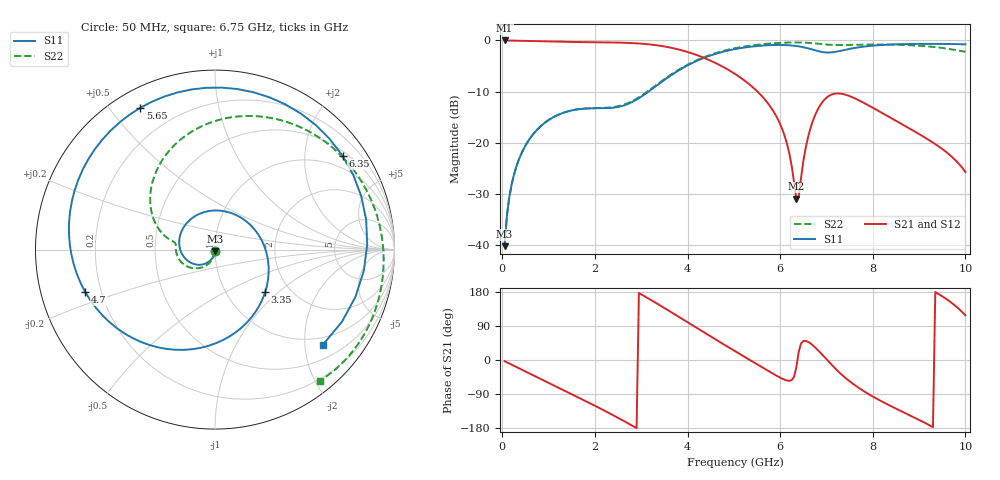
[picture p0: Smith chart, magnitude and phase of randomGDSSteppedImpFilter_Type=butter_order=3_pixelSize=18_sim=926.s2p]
! freq	dB(S11)	phase(S11)	dB(S12)	phase(S12)
!  dB(S21)	phase(S21)	dB(S22)	phase(S22)
!S-par simulation data
#  GHz  S  DB  R 50
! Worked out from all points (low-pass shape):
!   200 points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, 50 MHz to 10 GHz, reference 50 ohm
!   highest |S21| = -0.01 dB at 50 MHz (marker M1); lowest = -30.9 dB at 6.35 GHz (marker M2)
!   |S21| within 3 dB of the highest: start of sweep to 4.244 GHz
!   lowest |S11| = -40.2 dB at 50 MHz (marker M3), VSWR 1.02, Z = 49.9 - j0.972 ohm
!   |S11| at or under -10 dB: start of sweep to 3.158 GHz
!   |S22| runs from -40.2 to -0.4 dB; largest |S21 - S12| = 0
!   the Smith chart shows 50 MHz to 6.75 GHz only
!   S11 on the Smith chart (normalised r, x): 50 MHz: 1.00, -0.02; 3.35 GHz: 1.50, -0.82; 4.7 GHz: 0.14, -0.16; 5.65 GHz: 0.08, +0.60; 6.35 GHz: 0.62, +2.93; 6.75 GHz: 0.82, -2.41
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0.05  -40.22 -93.0  -0.01 -3.1  -0.01 -3.1  -40.22 -92.3
0.2  -28.23 -103.6  -0.03 -12.2  -0.03 -12.2  -28.22 -100.8
0.5  -20.56 -124.2  -0.08 -30.3  -0.08 -30.3  -20.55 -116.9
1.15  -14.78 -170.0  -0.23 -69.2  -0.23 -69.2  -14.77 -149.6
1.75  -13.35 142.5  -0.33 -105.3  -0.33 -105.3  -13.33 -174.4
2.65  -12.64 44.3  -0.46 -162.6  -0.46 -162.6  -12.48 169.1
3.35  -8.71 -40.3  -0.97 148.2  -0.97 148.2  -8.55 154.7
3.4  -8.38 -45.7  -1.03 144.6  -1.03 144.6  -8.22 152.7
4.1  -4.42 -111.9  -2.54 92.3  -2.54 92.3  -4.29 114.2
4.7  -2.38 -162.0  -4.85 47.3  -4.85 47.3  -2.23 74.1
5.05  -1.65 169.5  -6.70 21.5  -6.70 21.5  -1.48 50.6
5.65  -0.98 117.7  -11.34 -22.1  -11.34 -22.1  -0.71 11.9
6.1  -0.90 70.4  -18.74 -52.2  -18.74 -52.2  -0.43 -15.3
6.35  -1.09 36.3  -30.93 -19.1  -30.93 -19.1  -0.39 -29.7
6.7  -1.79 -29.7  -15.90 39.4  -15.90 39.4  -0.54 -48.9
6.75  -1.92 -41.3  -14.72 33.9  -14.72 33.9  -0.58 -51.4
7  -2.36 -105.0  -11.20 2.0  -11.20 2.0  -0.80 -63.1
7.35  -1.94 174.9  -10.47 -40.9  -10.47 -40.9  -0.90 -77.8
7.8  -1.21 109.0  -12.17 -81.8  -12.17 -81.8  -0.82 -97.5
8.35  -0.81 58.0  -14.94 -119.1  -14.94 -119.1  -0.82 -123.6
9.35  -0.67 -5.3  -20.27 179.3  -20.27 179.3  -1.30 173.6
10  -0.76 -37.6  -25.71 117.9  -25.71 117.9  -2.22 97.0
